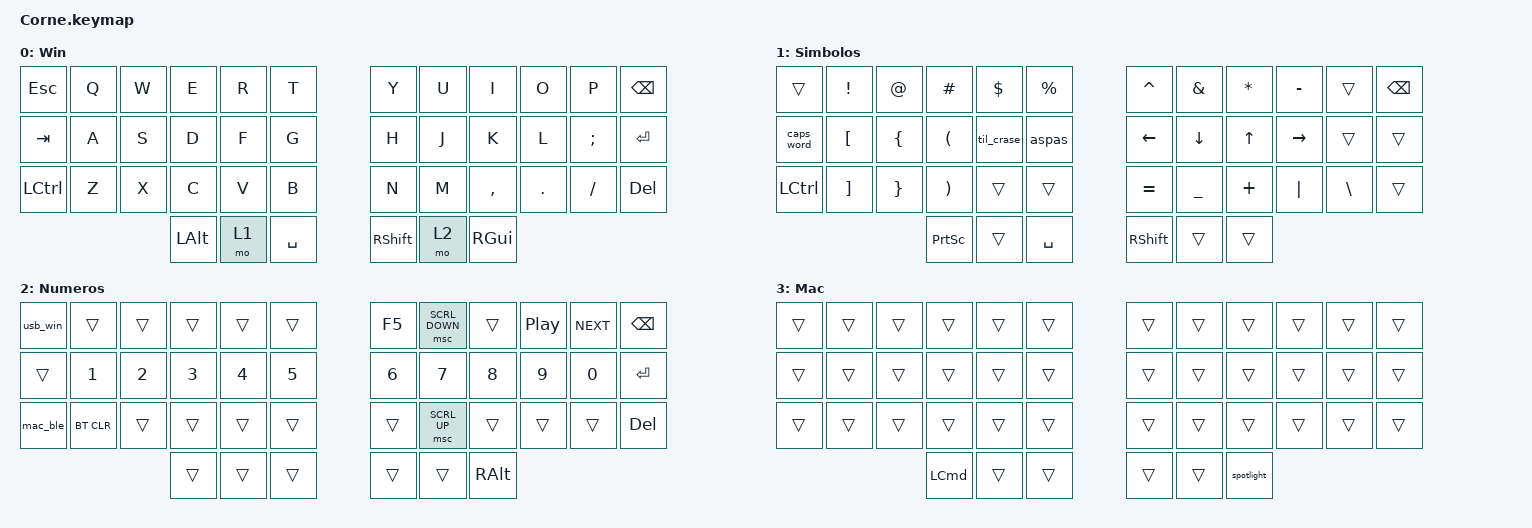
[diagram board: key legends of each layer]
/*
 * Copyright (c) 2020 The ZMK Contributors
 *
 * SPDX-License-Identifier: MIT
 */

#include <behaviors.dtsi>
#include <dt-bindings/zmk/keys.h>
#include <dt-bindings/zmk/outputs.h>
#include <dt-bindings/zmk/bt.h>
#include <dt-bindings/zmk/pointing.h>

/ {
    macros {
        mac_ble: mac_ble {
            compatible = "zmk,behavior-macro";
            #binding-cells = <0>;
            bindings = <&out OUT_BLE &to 3>;
            label = "MAC_BLE";
        };

        usb_win: usb_win {
            compatible = "zmk,behavior-macro";
            #binding-cells = <0>;
            bindings = <&out OUT_USB &to 0>;
            label = "USB_WIN";
        };

        spotlight: spotlight {
            compatible = "zmk,behavior-macro";
            #binding-cells = <0>;
            bindings = <&kp LG(SPACE)>;
            label = "SPOTLIGHT";
        };
    };

    behaviors {
        aspas: aspas {
            compatible = "zmk,behavior-tap-dance";
            label = "ASPAS";
            #binding-cells = <0>;
            tapping-term-ms = <200>;
            bindings = <&kp SQT>, <&kp DOUBLE_QUOTES>;
        };

        til_crase: til_crase {
            compatible = "zmk,behavior-tap-dance";
            label = "TIL_CRASE";
            #binding-cells = <0>;
            tapping-term-ms = <200>;
            bindings = <&kp TILDE>, <&kp GRAVE>;
        };
    };

    keymap {
        compatible = "zmk,keymap";

        default_layer {
            display-name = "Win";
            bindings = <
&kp ESCAPE  &kp Q  &kp W  &kp E         &kp R  &kp T      &kp Y            &kp U  &kp I          &kp O    &kp P     &kp BSPC
&kp TAB     &kp A  &kp S  &kp D         &kp F  &kp G      &kp H            &kp J  &kp K          &kp L    &kp SEMI  &kp RETURN
&kp LCTRL   &kp Z  &kp X  &kp C         &kp V  &kp B      &kp N            &kp M  &kp COMMA      &kp DOT  &kp FSLH  &kp DELETE
                          &kp LEFT_ALT  &mo 1  &kp SPACE  &kp RIGHT_SHIFT  &mo 2  &kp RIGHT_GUI
            >;
        };

        lower_layer {
            display-name = "Simbolos";
            bindings = <
&trans      &kp EXCLAMATION    &kp AT_SIGN      &kp HASH               &kp DOLLAR  &kp PERCENT  &kp CARET        &kp AMPERSAND   &kp ASTERISK  &kp MINUS  &trans         &kp BSPC
&caps_word  &kp LEFT_BRACKET   &kp LEFT_BRACE   &kp LEFT_PARENTHESIS   &til_crase  &aspas       &kp LEFT         &kp DOWN        &kp UP        &kp RIGHT  &trans         &trans
&kp LCTRL   &kp RIGHT_BRACKET  &kp RIGHT_BRACE  &kp RIGHT_PARENTHESIS  &trans      &trans       &kp EQUAL        &kp UNDERSCORE  &kp PLUS      &kp PIPE   &kp BACKSLASH  &trans
                                                &kp PRINTSCREEN        &trans      &kp SPACE    &kp RIGHT_SHIFT  &trans          &trans
            >;
        };

        raise_layer {
            display-name = "Numeros";
            bindings = <
&usb_win  &trans        &trans        &trans        &trans        &trans  &kp F5        &msc SCRL_DOWN  &trans         &kp C_PLAY_PAUSE  &kp C_NEXT  &kp BACKSPACE
&trans    &kp NUMBER_1  &kp NUMBER_2  &kp NUMBER_3  &kp NUMBER_4  &kp N5  &kp NUMBER_6  &kp N7          &kp N8         &kp N9            &kp N0      &kp ENTER
&mac_ble  &bt BT_CLR    &trans        &trans        &trans        &trans  &trans        &msc SCRL_UP    &trans         &trans            &trans      &kp DELETE
                                      &trans        &trans        &trans  &trans        &trans          &kp RIGHT_ALT
            >;
        };

        Mac {
            bindings = <
&trans  &trans  &trans  &trans            &trans  &trans  &trans  &trans  &trans      &trans  &trans  &trans
&trans  &trans  &trans  &trans            &trans  &trans  &trans  &trans  &trans      &trans  &trans  &trans
&trans  &trans  &trans  &trans            &trans  &trans  &trans  &trans  &trans      &trans  &trans  &trans
                        &kp LEFT_COMMAND  &trans  &trans  &trans  &trans  &spotlight
            >;

            label = "Mac";
        };
    };
};
